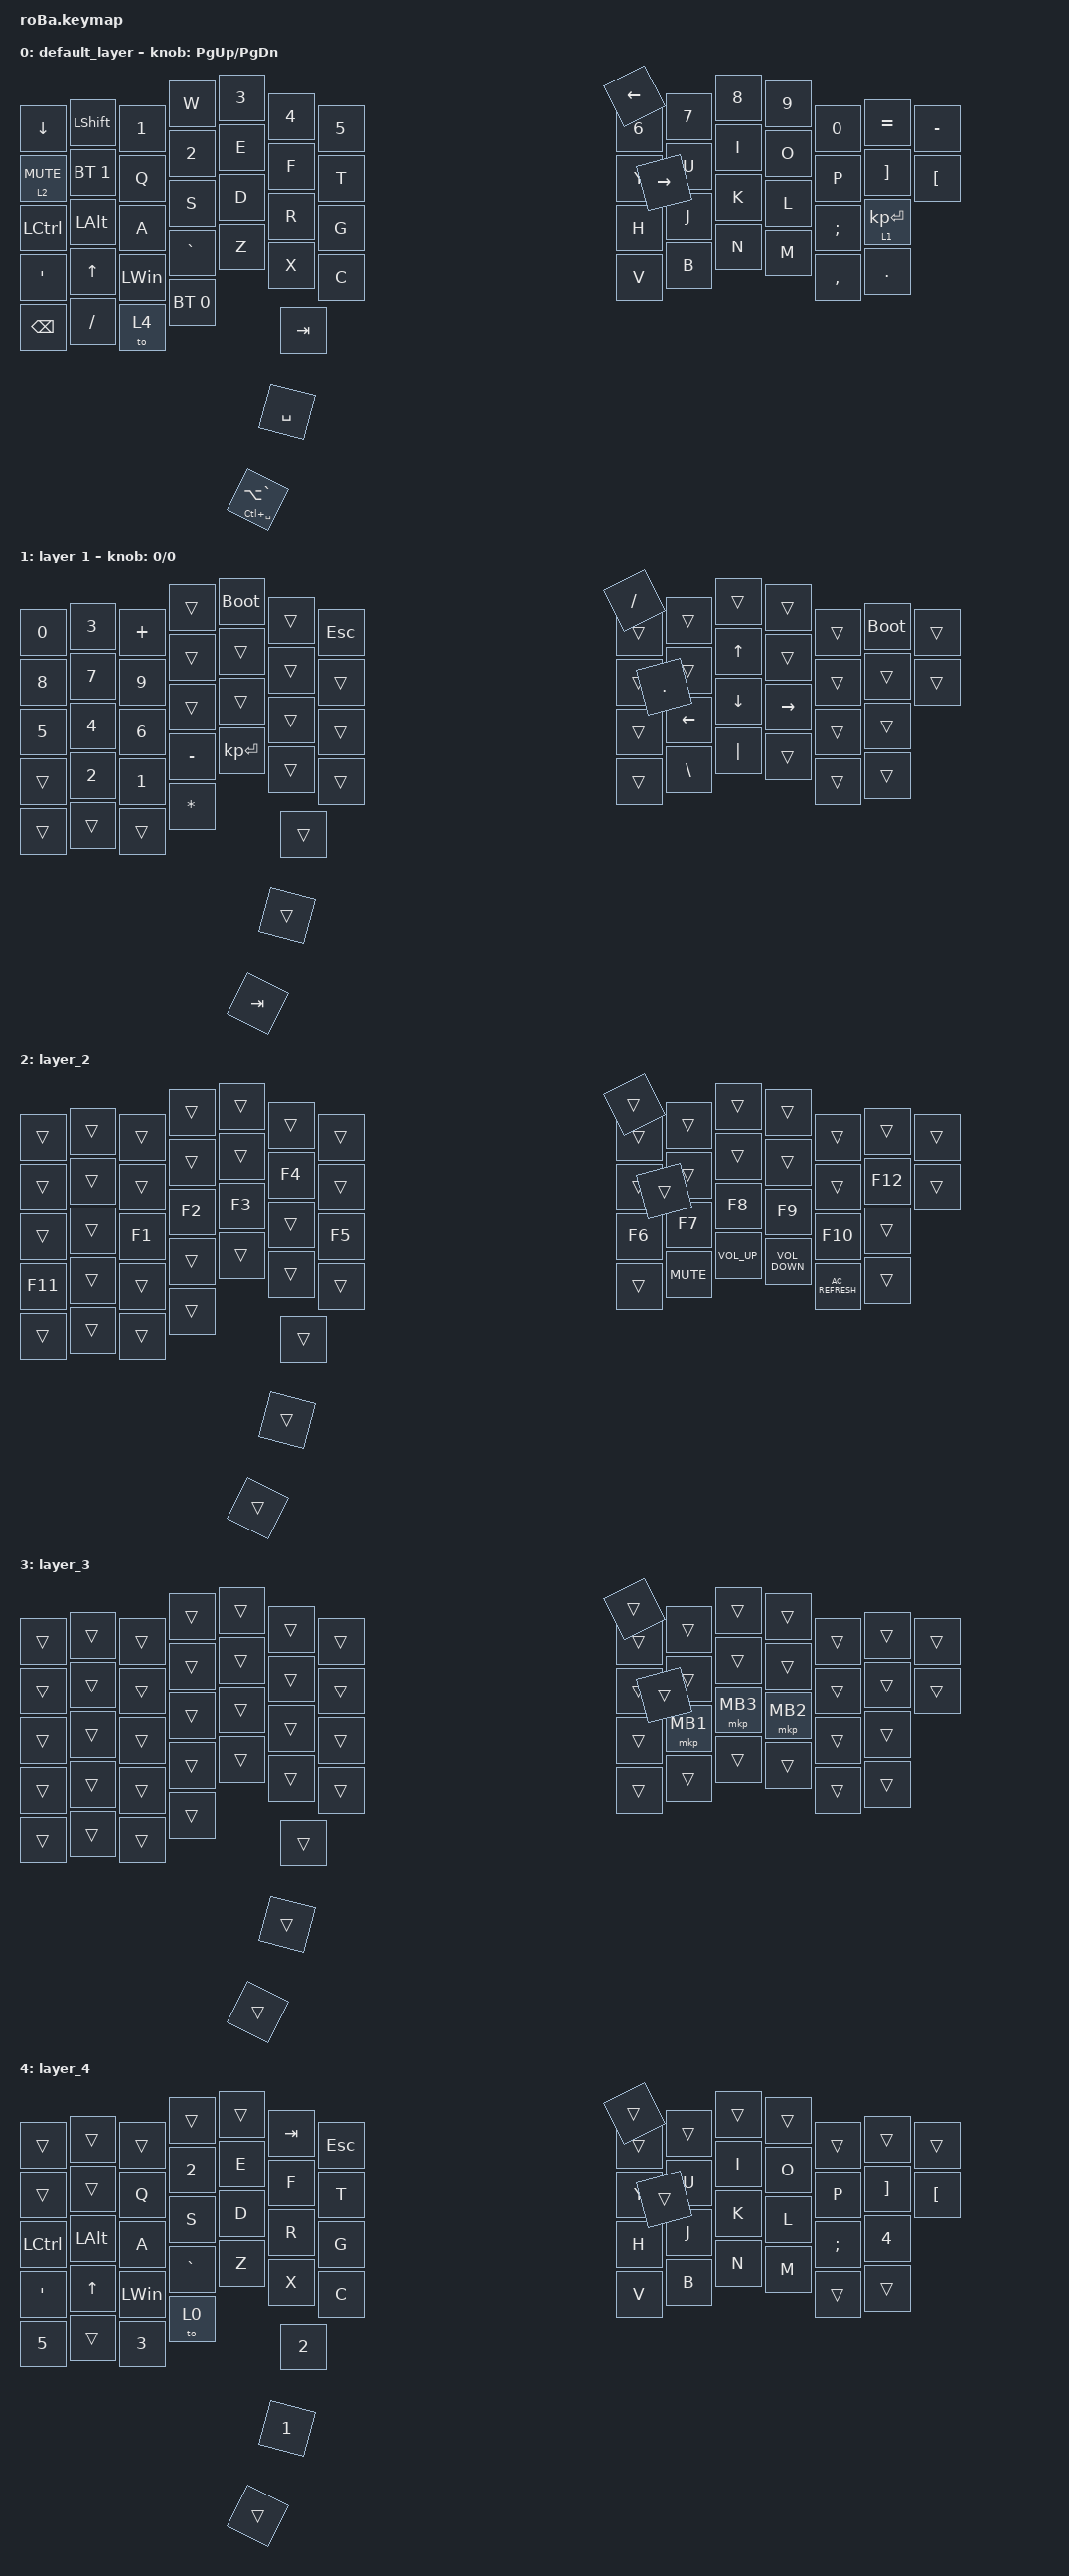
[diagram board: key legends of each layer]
#include <behaviors.dtsi>
#include <dt-bindings/zmk/bt.h>
#include <dt-bindings/zmk/keys.h>
#include <dt-bindings/zmk/pointing.h>

&mt {
    flavor = "balanced";
    quick-tap-ms = <0>;
};

&trackball {
    automouse-layer = <4>;
    scroll-layers = <5>;

    // arrows {
    //     layers = <3>;
    //     bindings =
    //         <&kp RIGHT_ARROW>,
    //         <&kp LEFT_ARROW>,
    //         <&kp UP_ARROW>,
    //         <&kp DOWN_ARROW>;
    //     tick = <10>;
    //     wait-ms = <5>;
    //     tap-ms = <5>;
    // };
};

/ {
    combos {
        compatible = "zmk,combos";

        tab {
            bindings = <&kp TAB>;
            key-positions = <11 12>;
        };

        shift_tab {
            bindings = <&kp LS(TAB)>;
            key-positions = <12 13>;
        };

        muhennkann {
            bindings = <&to_layer_0 INT_MUHENKAN>;
            key-positions = <11 10>;
        };

        double_quotation {
            bindings = <&kp DOUBLE_QUOTES>;
            key-positions = <20 21>;
        };

        eq {
            bindings = <&kp EQUAL>;
            key-positions = <24 25>;
        };
    };

    macros {
        to_layer_0: to_layer_0 {
            compatible = "zmk,behavior-macro-one-param";
            #binding-cells = <1>;
            bindings = <&to 0 &macro_param_1to1 &kp MACRO_PLACEHOLDER>;
            label = "TO_LAYER_0";
        };
    };

    behaviors {
        lt_to_layer_0: lt_to_layer_0 {
            compatible = "zmk,behavior-hold-tap";
            label = "LAYER_TAP_TO_0";
            bindings = <&mo>, <&to_layer_0>;

            #binding-cells = <2>;
            tapping-term-ms = <200>;
        };
    };

    keymap {
        compatible = "zmk,keymap";

        default_layer {
            bindings = <
&kp DOWN_ARROW  &kp LSHFT     &kp NUMBER_1  &kp W         &kp NUMBER_3             &kp NUMBER_4     &kp NUMBER_5    &kp NUMBER_6  &kp NUMBER_7  &kp NUMBER_8  &kp N9     &kp N0         &kp EQUAL          &kp MINUS
&lt 2 K_MUTE    &bt BT_SEL 1  &kp Q         &kp NUMBER_2  &kp E                    &kp F            &kp T           &kp Y         &kp U         &kp I         &kp O      &kp P          &kp RIGHT_BRACKET  &kp LEFT_BRACKET
&kp LCTRL       &kp LALT      &kp A         &kp S         &kp D                    &kp R            &kp G           &kp H         &kp J         &kp K         &kp L      &kp SEMICOLON  &lt 1 KP_ENTER     &kp SQT
&kp UP_ARROW    &kp LEFT_WIN  &kp GRAVE     &kp Z         &kp X                    &kp C            &kp V           &kp B         &kp N         &kp M         &kp COMMA  &kp PERIOD     &kp BACKSPACE      &kp SLASH
&to 4           &bt BT_SEL 0  &kp TAB       &kp SPACE     &mt LC(SPACE) LA(GRAVE)  &kp RIGHT_ARROW  &kp LEFT_ARROW
            >;

            sensor-bindings = <&inc_dec_kp PG_UP PAGE_DOWN>;
        };

        layer_1 {
            bindings = <
&kp NUMBER_0  &kp NUMBER_3  &kp PLUS      &trans        &bootloader  &trans   &kp ESC    &trans         &trans          &trans          &trans           &trans  &bootloader  &trans
&kp NUMBER_8  &kp NUMBER_7  &kp NUMBER_9  &trans        &trans       &trans   &trans     &trans         &trans          &kp UP_ARROW    &trans           &trans  &trans       &trans
&kp NUMBER_5  &kp NUMBER_4  &kp NUMBER_6  &trans        &trans       &trans   &trans     &trans         &kp LEFT_ARROW  &kp DOWN_ARROW  &kp RIGHT_ARROW  &trans  &trans       &trans
&kp NUMBER_2  &kp NUMBER_1  &kp MINUS     &kp KP_ENTER  &trans       &trans   &trans     &kp BACKSLASH  &kp PIPE        &trans          &trans           &trans  &trans       &trans
&trans        &kp ASTERISK  &trans        &trans        &kp TAB      &kp DOT  &kp SLASH
            >;

            sensor-bindings = <&inc_dec_kp 0 0>;
        };

        layer_2 {
            bindings = <
&trans  &trans  &trans  &trans  &trans  &trans  &trans  &trans      &trans           &trans             &trans            &trans   &trans   &trans
&trans  &trans  &trans  &trans  &trans  &kp F4  &trans  &trans      &trans           &trans             &trans            &trans   &kp F12  &trans
&trans  &trans  &kp F1  &kp F2  &kp F3  &trans  &kp F5  &kp F6      &kp F7           &kp F8             &kp F9            &kp F10  &trans   &kp F11
&trans  &trans  &trans  &trans  &trans  &trans  &trans  &kp C_MUTE  &kp C_VOLUME_UP  &kp C_VOLUME_DOWN  &kp C_AC_REFRESH  &trans   &trans   &trans
&trans  &trans  &trans  &trans  &trans  &trans  &trans
            >;
        };

        layer_3 {
            bindings = <
&trans  &trans  &trans  &trans  &trans  &trans  &trans  &trans  &trans    &trans    &trans    &trans  &trans  &trans
&trans  &trans  &trans  &trans  &trans  &trans  &trans  &trans  &trans    &trans    &trans    &trans  &trans  &trans
&trans  &trans  &trans  &trans  &trans  &trans  &trans  &trans  &mkp MB1  &mkp MB3  &mkp MB2  &trans  &trans  &trans
&trans  &trans  &trans  &trans  &trans  &trans  &trans  &trans  &trans    &trans    &trans    &trans  &trans  &trans
&trans  &trans  &trans  &trans  &trans  &trans  &trans
            >;
        };

        layer_4 {
            bindings = <
&trans        &trans        &trans        &trans        &trans  &kp TAB  &kp ESC  &trans  &trans  &trans  &trans  &trans         &trans             &trans
&trans        &trans        &kp Q         &kp NUMBER_2  &kp E   &kp F    &kp T    &kp Y   &kp U   &kp I   &kp O   &kp P          &kp RIGHT_BRACKET  &kp LEFT_BRACKET
&kp LCTRL     &kp LALT      &kp A         &kp S         &kp D   &kp R    &kp G    &kp H   &kp J   &kp K   &kp L   &kp SEMICOLON  &kp NUMBER_4       &kp SQT
&kp UP_ARROW  &kp LEFT_WIN  &kp GRAVE     &kp Z         &kp X   &kp C    &kp V    &kp B   &kp N   &kp M   &trans  &trans         &kp NUMBER_5       &trans
&kp NUMBER_3  &to 0         &kp NUMBER_2  &kp NUMBER_1  &trans  &trans   &trans
            >;
        };
    };
};
